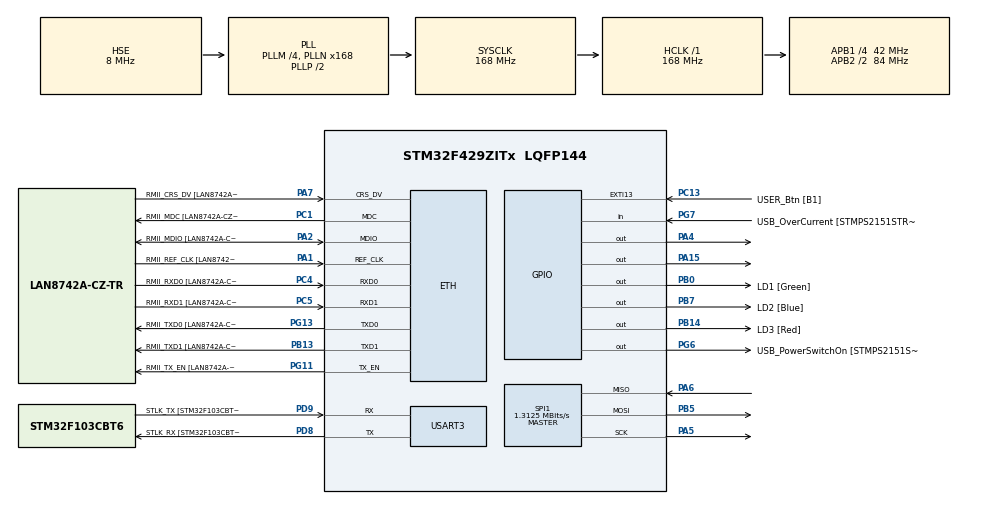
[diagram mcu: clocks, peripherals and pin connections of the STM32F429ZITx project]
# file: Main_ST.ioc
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ETH.MediaInterface=HAL_ETH_RMII_MODE
ETH.PHY_Name=LAN8742A_PHY_ADDRESS
ETH.PHY_Value=0
ETH.PhyAddress=0
FREERTOS.Tasks01=defaultTask,0,256,StartDefaultTask,Default,NULL,Dynamic,NULL,NULL;SPI_Master,0,512,StartSPI_Master,Default,NULL,Dynamic,NULL,NULL;UDPTask,1,512,StartUDPTask,Default,NULL,Dynamic,NULL,NULL
LWIP.BSP.number=1
LWIP.IP_ADDRESS=192.168.001.080
LWIP.LWIP_DHCP=0
LWIP.NETMASK_ADDRESS=255.255.255.000
LWIP.Version=v2.1.2_Cube
LWIP0.BSP.STBoard=false
LWIP0.BSP.api=BSP_COMPONENT_DRIVER
LWIP0.BSP.component=LAN8742
LWIP0.BSP.instance=LAN8742
LWIP0.BSP.name=Driver_PHY
LWIP0.BSP.semaphore=S_LAN8742
LWIP0.BSP.solution=LAN8742
Mcu.Family=STM32F4
Mcu.Name=STM32F429ZITx
Mcu.Package=LQFP144
NVIC.ETH_IRQn=true\:5\:0\:true\:false\:true\:true\:false\:true\:true
NVIC.PriorityGroup=NVIC_PRIORITYGROUP_4
PA1.GPIO_Label=RMII_REF_CLK [LAN8742A-CZ-TR_REFCLK0]
PA1.Mode=RMII
PA1.Signal=ETH_REF_CLK
PA10.GPIO_Label=USB_ID
PA10.Signal=USB_OTG_FS_ID
PA11.GPIO_Label=USB_DM
PA11.Signal=USB_OTG_FS_DM
PA12.GPIO_Label=USB_DP
PA12.Signal=USB_OTG_FS_DP
PA13.GPIO_Label=TMS
PA13.Mode=Serial_Wire
PA13.Signal=SYS_JTMS-SWDIO
PA14.GPIO_Label=TCK
PA14.Mode=Serial_Wire
PA14.Signal=SYS_JTCK-SWCLK
PA15.PinState=GPIO_PIN_SET
PA15.Signal=GPIO_Output
PA2.GPIO_Label=RMII_MDIO [LAN8742A-CZ-TR_MDIO]
PA2.Mode=RMII
PA2.Signal=ETH_MDIO
PA4.PinState=GPIO_PIN_SET
PA4.Signal=GPIO_Output
PA5.Mode=Full_Duplex_Master
PA5.Signal=SPI1_SCK
PA6.Mode=Full_Duplex_Master
PA6.Signal=SPI1_MISO
PA7.GPIO_Label=RMII_CRS_DV [LAN8742A-CZ-TR_CRS_DV]
PA7.Mode=RMII
PA7.Signal=ETH_CRS_DV
PA8.GPIO_Label=USB_SOF [TP1]
PA8.Signal=USB_OTG_FS_SOF
PA9.GPIO_Label=USB_VBUS
PA9.Signal=USB_OTG_FS_VBUS
PB0.GPIO_Label=LD1 [Green]
PB0.Signal=GPIO_Output
PB13.GPIO_Label=RMII_TXD1 [LAN8742A-CZ-TR_TXD1]
PB13.Mode=RMII
PB13.Signal=ETH_TXD1
PB14.GPIO_Label=LD3 [Red]
PB14.Signal=GPIO_Output
PB5.Mode=Full_Duplex_Master
PB5.Signal=SPI1_MOSI
PB7.GPIO_Label=LD2 [Blue]
PB7.Signal=GPIO_Output
PC1.GPIO_Label=RMII_MDC [LAN8742A-CZ-TR_MDC]
PC1.Mode=RMII
PC1.Signal=ETH_MDC
PC13.GPIO_Label=USER_Btn [B1]
PC13.Signal=GPXTI13
PC14/OSC32_IN.Mode=LSE-External-Oscillator
PC14/OSC32_IN.Signal=RCC_OSC32_IN
PC15/OSC32_OUT.Mode=LSE-External-Oscillator
PC15/OSC32_OUT.Signal=RCC_OSC32_OUT
PC4.GPIO_Label=RMII_RXD0 [LAN8742A-CZ-TR_RXD0]
PC4.Mode=RMII
PC4.Signal=ETH_RXD0
PC5.GPIO_Label=RMII_RXD1 [LAN8742A-CZ-TR_RXD1]
PC5.Mode=RMII
PC5.Signal=ETH_RXD1
PD8.GPIO_Label=STLK_RX [STM32F103CBT6_PA3]
PD8.Mode=Asynchronous
PD8.Signal=USART3_TX
PD9.GPIO_Label=STLK_TX [STM32F103CBT6_PA2]
PD9.Mode=Asynchronous
PD9.Signal=USART3_RX
PG11.GPIO_Label=RMII_TX_EN [LAN8742A-CZ-TR_TXEN]
PG11.Mode=RMII
PG11.Signal=ETH_TX_EN
PG13.GPIO_Label=RMII_TXD0 [LAN8742A-CZ-TR_TXD0]
PG13.Mode=RMII
PG13.Signal=ETH_TXD0
PG6.GPIO_Label=USB_PowerSwitchOn [STMPS2151STR_EN]
PG6.Signal=GPIO_Output
PG7.GPIO_Label=USB_OverCurrent [STMPS2151STR_FAULT]
PG7.Signal=GPIO_Input
PH0/OSC_IN.GPIO_Label=MCO [STM32F103CBT6_PA8]
PH0/OSC_IN.Mode=HSE-External-Clock-Source
PH0/OSC_IN.Signal=RCC_OSC_IN
PH1/OSC_OUT.Mode=HSE-External-Clock-Source
PH1/OSC_OUT.Signal=RCC_OSC_OUT
ProjectManager.HeapSize=0x200
ProjectManager.StackSize=0x400
ProjectManager.TargetToolchain=STM32CubeIDE
RCC.48MHZClocksFreq_Value=48000000
RCC.AHBFreq_Value=168000000
RCC.APB1CLKDivider=RCC_HCLK_DIV4
RCC.APB1Freq_Value=42000000
RCC.APB1TimFreq_Value=84000000
RCC.APB2CLKDivider=RCC_HCLK_DIV2
RCC.APB2Freq_Value=84000000
RCC.APB2TimCLKDivider=2
RCC.APB2TimFreq_Value=168000000
RCC.CortexFreq_Value=168000000
RCC.HCLKFreq_Value=168000000
RCC.HSE_VALUE=8000000
RCC.HSI_VALUE=16000000
RCC.PLLM=4
RCC.PLLMUL=RCC_PLL_MUL9
RCC.PLLN=168
RCC.PLLQ=7
RCC.PLLSourceVirtual=RCC_PLLSOURCE_HSE
RCC.PRESCALERUSB=RCC_USBCLKSOURCE_PLL_DIV1_5
RCC.SYSCLKFreq_VALUE=168000000
RCC.SYSCLKSource=RCC_SYSCLKSOURCE_PLLCLK
RCC.SYSCLKSourceVirtual=RCC_SYSCLKSOURCE_PLLCLK
RCC.USBFreq_Value=48000000
RCC.VCOOutputFreq_Value=336000000
SPI1.BaudRatePrescaler=SPI_BAUDRATEPRESCALER_64
SPI1.CLKPolarity=SPI_POLARITY_HIGH
SPI1.CalculateBaudRate=1.3125 MBits/s
SPI1.Direction=SPI_DIRECTION_2LINES
SPI1.Mode=SPI_MODE_MASTER
SPI1.VirtualType=VM_MASTER
USART3.VirtualMode=VM_ASYNC
VP_FREERTOS_VS_CMSIS_V1.Mode=CMSIS_V1
VP_LWIP_VS_Enabled.Mode=Enabled
board=NUCLEO-F429ZI

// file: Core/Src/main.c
/* USER CODE BEGIN Header */
/**
  ******************************************************************************
  * @file           : main.c
  * @brief          : Main program body
  ******************************************************************************
  * @attention
  *
  * Copyright (c) 2025 STMicroelectronics.
  * All rights reserved.
  *
  * This software is licensed under terms that can be found in the LICENSE file
  * in the root directory of this software component.
  * If no LICENSE file comes with this software, it is provided AS-IS.
  *
  ******************************************************************************
  */
/* USER CODE END Header */
#include "main.h"
#include "cmsis_os.h"
#include "lwip.h"
#include "spi.h"
#include "usart.h"
#include "gpio.h"

void SystemClock_Config(void);
void MX_FREERTOS_Init(void);

int main(void)
{

  /* MCU Configuration--------------------------------------------------------*/

  /* Reset of all peripherals, Initializes the Flash interface and the Systick. */
  HAL_Init();

  /* Configure the system clock */
  SystemClock_Config();

  /* Initialize all configured peripherals */
  MX_GPIO_Init();
  MX_SPI1_Init();
  MX_USART3_UART_Init();

  /* Call init function for freertos objects (in cmsis_os2.c) */
  MX_FREERTOS_Init();

  /* Start scheduler */
  osKernelStart();

  /* We should never get here as control is now taken by the scheduler */

  /* Infinite loop */
  while (1)
  {

  }
}

void SystemClock_Config(void)
{
  RCC_OscInitTypeDef RCC_OscInitStruct = {0};
  RCC_ClkInitTypeDef RCC_ClkInitStruct = {0};

  /** Configure the main internal regulator output voltage
  */
  __HAL_RCC_PWR_CLK_ENABLE();
  __HAL_PWR_VOLTAGESCALING_CONFIG(PWR_REGULATOR_VOLTAGE_SCALE1);

  /** Initializes the RCC Oscillators according to the specified parameters
  * in the RCC_OscInitTypeDef structure.
  */
  RCC_OscInitStruct.OscillatorType = RCC_OSCILLATORTYPE_HSE;
  RCC_OscInitStruct.HSEState = RCC_HSE_BYPASS;
  RCC_OscInitStruct.PLL.PLLState = RCC_PLL_ON;
  RCC_OscInitStruct.PLL.PLLSource = RCC_PLLSOURCE_HSE;
  RCC_OscInitStruct.PLL.PLLM = 4;
  RCC_OscInitStruct.PLL.PLLN = 168;
  RCC_OscInitStruct.PLL.PLLP = RCC_PLLP_DIV2;
  RCC_OscInitStruct.PLL.PLLQ = 7;
  if (HAL_RCC_OscConfig(&RCC_OscInitStruct) != HAL_OK)
  {
    Error_Handler();
  }

  /** Initializes the CPU, AHB and APB buses clocks
  */
  RCC_ClkInitStruct.ClockType = RCC_CLOCKTYPE_HCLK|RCC_CLOCKTYPE_SYSCLK
                              |RCC_CLOCKTYPE_PCLK1|RCC_CLOCKTYPE_PCLK2;
  RCC_ClkInitStruct.SYSCLKSource = RCC_SYSCLKSOURCE_PLLCLK;
  RCC_ClkInitStruct.AHBCLKDivider = RCC_SYSCLK_DIV1;
  RCC_ClkInitStruct.APB1CLKDivider = RCC_HCLK_DIV4;
  RCC_ClkInitStruct.APB2CLKDivider = RCC_HCLK_DIV2;

  if (HAL_RCC_ClockConfig(&RCC_ClkInitStruct, FLASH_LATENCY_5) != HAL_OK)
  {
    Error_Handler();
  }
}

void Error_Handler(void)
{
  __disable_irq();
  while (1)
  {
  }
}

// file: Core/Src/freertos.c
/* USER CODE BEGIN Header */
/**
  ******************************************************************************
  * File Name          : freertos.c
  * Description        : Code for freertos applications
  ******************************************************************************
  * @attention
  *
  * Copyright (c) 2025 STMicroelectronics.
  * All rights reserved.
  *
  * This software is licensed under terms that can be found in the LICENSE file
  * in the root directory of this software component.
  * If no LICENSE file comes with this software, it is provided AS-IS.
  *
  ******************************************************************************
  */
/* USER CODE END Header */

#include "FreeRTOS.h"
#include "task.h"
#include "main.h"
#include "cmsis_os.h"

/* USER CODE BEGIN Includes */
#include "spi.h"
#include "lwip.h"
#include "lwip/api.h"
#include "usart.h"
/* USER CODE END Includes */

osThreadId defaultTaskHandle;
osThreadId SPI_MasterHandle;
osThreadId UDPTaskHandle;

/* USER CODE BEGIN FunctionPrototypes */
QueueHandle_t sensorDataQueue;
SensorData_t sensorData = {0};

/* USER CODE END FunctionPrototypes */

void StartDefaultTask(void const * argument);
void StartSPI_Master(void const * argument);
void StartUDPTask(void const * argument);

extern void MX_LWIP_Init(void);
void MX_FREERTOS_Init(void); /* (MISRA C 2004 rule 8.1) */

/* GetIdleTaskMemory prototype (linked to static allocation support) */
void vApplicationGetIdleTaskMemory( StaticTask_t **ppxIdleTaskTCBBuffer, StackType_t **ppxIdleTaskStackBuffer, uint32_t *pulIdleTaskStackSize );

/* USER CODE BEGIN GET_IDLE_TASK_MEMORY */
static StaticTask_t xIdleTaskTCBBuffer;
static StackType_t xIdleStack[configMINIMAL_STACK_SIZE];

void vApplicationGetIdleTaskMemory( StaticTask_t **ppxIdleTaskTCBBuffer, StackType_t **ppxIdleTaskStackBuffer, uint32_t *pulIdleTaskStackSize )
{
  *ppxIdleTaskTCBBuffer = &xIdleTaskTCBBuffer;
  *ppxIdleTaskStackBuffer = &xIdleStack[0];
  *pulIdleTaskStackSize = configMINIMAL_STACK_SIZE;
  /* place for user code */
}
/* USER CODE END GET_IDLE_TASK_MEMORY */

void MX_FREERTOS_Init(void) {

  /* USER CODE BEGIN RTOS_QUEUES */
  /* add queues, ... */
	sensorDataQueue = xQueueCreate(5, sizeof(SensorData_t));
	if (sensorDataQueue == NULL) {
	    Error_Handler();
	}
  /* USER CODE END RTOS_QUEUES */

  /* Create the thread(s) */
  /* definition and creation of defaultTask */
  osThreadDef(defaultTask, StartDefaultTask, osPriorityNormal, 0, 256);
  defaultTaskHandle = osThreadCreate(osThread(defaultTask), NULL);

  /* definition and creation of SPI_Master */
  osThreadDef(SPI_Master, StartSPI_Master, osPriorityNormal, 0, 512);
  SPI_MasterHandle = osThreadCreate(osThread(SPI_Master), NULL);

  /* definition and creation of UDPTask */
  osThreadDef(UDPTask, StartUDPTask, osPriorityAboveNormal, 0, 512);
  UDPTaskHandle = osThreadCreate(osThread(UDPTask), NULL);

}

void StartDefaultTask(void const * argument)
{
  /* init code for LWIP */
  MX_LWIP_Init();
  /* USER CODE BEGIN StartDefaultTask */
  /* Infinite loop */
  Uart3_Printf("MX_LWIP_Init done.\r\n");

  if (gnetif.ip_addr.addr == 0) {
      Uart3_Printf("IP is 0.0.0.0, maybe link not up.\r\n");
  } else {
      char buffer[64];
      sprintf(buffer, "IP address: %s\r\n", ip4addr_ntoa(&gnetif.ip_addr));
      HAL_UART_Transmit(&huart3, (uint8_t*)buffer, strlen(buffer), 100);
  }

  // flush time 확보
  osDelay(100);

  vTaskDelete(NULL); // 자기 자신 종료
  for(;;)
  {

  }
  /* USER CODE END StartDefaultTask */
}

void StartSPI_Master(void const * argument)
{
  /* USER CODE BEGIN StartSPI_Master */
  /* Infinite loop */
	SensorData_t data;

	uint8_t txDummy_Internal[4] = {0};
	uint8_t Internal_rxData[4] = {0};
	uint8_t txDummy_External[4] = {0};
	uint8_t External_rxData[4] = {0};

	HAL_StatusTypeDef Internal_status;
	HAL_StatusTypeDef External_status;

	uint16_t lux = 0;
	uint16_t rain_adc = 0;
	uint16_t co2_ppm = 0;
	for(;;)
	{
		// Receive data from Internal ST
		CS_Select_PA4();
		Internal_status = HAL_SPI_TransmitReceive(&hspi1, txDummy_Internal, Internal_rxData, 4, HAL_MAX_DELAY);
		CS_Deselect_PA4();

		osDelay(1);

		// Receive data from External ST
		CS_Select_PA15();
		External_status = HAL_SPI_TransmitReceive(&hspi1, txDummy_External, External_rxData, 4, HAL_MAX_DELAY);
		CS_Deselect_PA15();

		// Enqueue data for UDP Send
		if(Internal_status == HAL_OK && External_status == HAL_OK) {
			co2_ppm = (Internal_rxData[2] << 8) | Internal_rxData[3];
			lux = (External_rxData[0] << 8) | External_rxData[1];
			rain_adc = (External_rxData[2] << 8) | External_rxData[3];
			Uart3_Printf("humi=%d temp=%d co2_ppm=%d lux=%d rain_adc=%d\r\n", Internal_rxData[0], Internal_rxData[1], co2_ppm, lux, rain_adc);

			data.humid = Internal_rxData[0];
			data.temp = Internal_rxData[1];
			data.co2 = co2_ppm;
			data.lux = lux;
			data.rain = rain_adc;

			xQueueSend(sensorDataQueue, &data, portMAX_DELAY);
		}
		else
		{
			Uart3_Printf("SPI fail Internal:%d External:%d\r\n", Internal_status, External_status);
		}

	osDelay(500);

}
  /* USER CODE END StartSPI_Master */
}

void StartUDPTask(void const * argument)
{
  /* USER CODE BEGIN StartUDPTask */
  /* Infinite loop */
	for(;;)
	{
		struct udp_pcb *pcb;
		ip_addr_t dest_ip;

		// Wait for link-up
		while (netif_is_link_up(&gnetif) == 0)
		{
			HAL_UART_Transmit(&huart3, (uint8_t*)"Waiting for link-up...\r\n", 24, 100);
			osDelay(1000);
		}

		// Create socket
		pcb = udp_new();
		if (!pcb)
		{
			HAL_UART_Transmit(&huart3, (uint8_t*)"udp_new failed\r\n", 16, 100);
			osThreadTerminate(NULL);
		}

		// Set up destination Address
		IP4_ADDR(&dest_ip,192,168,1,3);

		// Bind
		udp_connect(pcb, &dest_ip, 5006);

		HAL_UART_Transmit(&huart3, (uint8_t*)"UDP Task Ready\r\n", 16, 100);

		for(;;)
		{
			SensorData_t received;

			// Dequeue received data
			if (xQueueReceive(sensorDataQueue, &received, portMAX_DELAY) == pdTRUE)
			{
				char msg[64];
				snprintf(msg, sizeof(msg), "{\"temp\":%d,\"humi\":%d,\"co2\":%d,\"lux\":%d,\"rain\":%d}", received.temp, received.humid, received.co2,received.lux, received.rain);

				struct pbuf *p = pbuf_alloc(PBUF_TRANSPORT, strlen(msg), PBUF_RAM);
				if (!p)
				{
					HAL_UART_Transmit(&huart3, (uint8_t*)"pbuf_alloc failed\r\n", 20, 100);
					continue;
				}

				pbuf_take(p, msg, strlen(msg));

				// Transmit data to Pi#2
				udp_send(pcb, p);
				pbuf_free(p);

				HAL_UART_Transmit(&huart3, (uint8_t*)"UDP Sent\r\n", 10, 100);
			}
		}

		// Delete socket
		udp_remove(pcb);
	}
  /* USER CODE END StartUDPTask */
}
